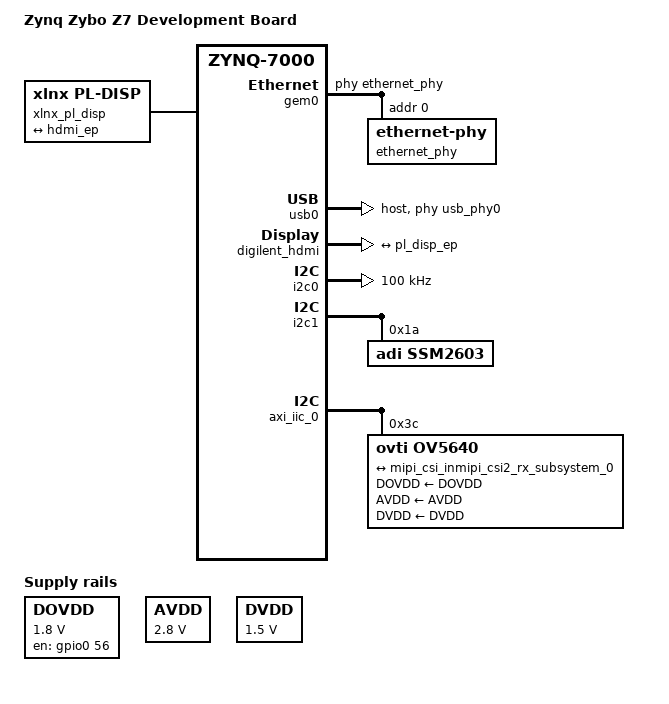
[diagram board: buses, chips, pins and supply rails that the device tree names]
/include/ "system-conf.dtsi"
#include <dt-bindings/gpio/gpio.h>
/* XVIP_VF_YUV_422 from <dt-bindings/media/xilinx-vip.h>; kept numeric so the
 * device-tree recipe does not need the kernel include path */
#define XVIP_VF_YUV_422	0

/ {
	model = "Zynq Zybo Z7 Development Board";
	compatible = "digilent,zynq-zyboz7", "xlnx,zynq-7000";

	usb_phy0: usb_phy@0 {
		compatible = "ulpi-phy";
		#phy-cells = <0>;
		reg = <0xe0002000 0x1000>;
		view-port = <0x0170>;
		drv-vbus;
	};
};

&gem0 {
        phy-handle = <&ethernet_phy>;
        ethernet_phy: ethernet-phy@0 {
                device_type = "ethernet-phy";
                reg = <0>;
                /* dt-bindings/phy/realtek.h */
                /* #define REALTEK_LED_LINK10              BIT(0)
                   #define REALTEK_LED_LINK100             BIT(1)
                   #define REALTEK_LED_LINK1000            BIT(3)
                   #define REALTEK_LED_ACT                 BIT(4)
                   #define REALTEK_LED_DEFAULT             BIT(7)
                */
                /* LED0=10+A, LED1=100+A, LED2=1000+A */
                realtek,leds-config = <0x11 0x12 0x18>;
        };
};

&usb0 {	
	dr_mode = "host";
	usb-phy = <&usb_phy0>;
};

&flash0 {
        /* partitions in system-conf.dtsi use 1 address + 1 size cell */
        #address-cells = <1>;
        #size-cells = <1>;
        compatible = "jedec,spi-nor";
        reg = <0x0>;
        spi-tx-bus-width = <1>;
        spi-rx-bus-width = <4>;
        spi-max-frequency = <100000000>;
};

&amba_pl {
	digilent_hdmi {
		compatible = "digilent,hdmi";

		clocks = <&axi_dynclk_0>;
		clock-names = "clk";

		digilent,edid-i2c = <&i2c0>;
		digilent,fmax = <150000>;

		port@0 {
			hdmi_ep: endpoint {
				remote-endpoint = <&pl_disp_ep>;
			};
		};
	};

	xlnx_pl_disp {
		compatible = "xlnx,pl-disp";

		dmas = <&axi_vdma_1 0>;
		dma-names = "dma0";

		/*
		 * See Documentation/devicetree/bindings/dma/xilinx/xilinx_frmbuf.txt
		 * to find the equivalent DRM fourcc code for the format selected in
		 * the Frame Buffer Reader, then see See include/uapi/drm/drm_fourcc.h
		 * to find the corresponding 4-char string that should be placed here.
		 */
		xlnx,vformat = "XR24";
		xlnx,bridge = <&v_tc_out>;

		port@0 {
			pl_disp_ep: endpoint {
				remote-endpoint = <&hdmi_ep>;
			};
		};
	};
};

&v_tc_out {
	compatible = "xlnx,bridge-v-tc-6.1";
	xlnx,pixels-per-clock = <1>;
};

&axi_dynclk_0 {
	compatible = "dglnt,axi-dynclk";
	#clock-cells = <0>;
};

&v_tc_in {
	compatible = "generic-uio";
};

&axi_vdma_0 {
	compatible = "generic-uio";	
};

&axi_gpio_video {
	compatible = "generic-uio";	
};

&pwm_rgb {
	compatible = "generic-uio";	
};

&amba_pl {
	i2s_clk: i2s_clk {
		#clock-cells = <0>;
		compatible = "fixed-clock";
		clock-frequency = <12000000>;
		clock-output-names = "i2s_clk";
	};

	sound {
		compatible = "simple-audio-card";
		simple-audio-card,name = "Zybo-Z7-Sound-Card";
		simple-audio-card,format = "i2s";
		simple-audio-card,bitclock-master = <&dailink0_master>;
		simple-audio-card,frame-master = <&dailink0_master>;

		simple-audio-card,widgets =
			"Microphone", "Microphone Jack",
			"Headphone", "Headphone Jack",
			"Line", "Line In Jack";

		simple-audio-card,routing =
			"MICIN", "Microphone Jack",
			"Headphone Jack", "LHPOUT",
			"Headphone Jack", "RHPOUT",
			"LLINEIN", "Line In Jack",
			"RLINEIN", "Line In Jack";

		dailink0_master: simple-audio-card,cpu {
			clocks = <&i2s_clk>;
			sound-dai = <&axi_i2s_adi_1>;
		};

		simple-audio-card,codec {
			clocks = <&i2s_clk>;
			sound-dai = <&ssm2603>;
		};
	};
};

&axi_i2s_adi_1 {
	#sound-dai-cells = <0>;
	compatible = "adi,axi-i2s-1.00.a";
	clocks = <&clkc 15>, <&i2s_clk>;
	clock-names = "axi", "ref";
	dmas = <&dmac_s 0 &dmac_s 1>;
	dma-names = "tx", "rx";
};

&i2c0 {
	clock-frequency = <100000>;
	status = "okay";
};

&i2c1 {
	ssm2603: ssm2603@1a{
		#sound-dai-cells = <0>;
		compatible = "adi,ssm2603";
		reg = <0x1a>;
	};
};

&axi_gpio_led {
	compatible = "generic-uio";
};


&axi_gpio_sw_btn {
	compatible = "generic-uio";
};

/ {
	pcam_clk: pcam_clk {
		#clock-cells = <0>;
		compatible = "fixed-clock";
		clock-frequency = <12000000>;
	};

	DOVDD: fixed_regulator_DOVDD@0 {
		compatible = "regulator-fixed";
		regulator-name = "DOVDD_reg";
		regulator-min-microvolt = <1800000>;
		regulator-max-microvolt = <1800000>;
		gpio = <&gpio0 56 GPIO_ACTIVE_HIGH>;
		startup-delay-us = <50000>;
		enable-active-high;
	};

	AVDD: fixed_regulator_AVDD@1 {
		compatible = "regulator-fixed";
		regulator-name = "AVDD_reg";
		regulator-min-microvolt = <2800000>;
		regulator-max-microvolt = <2800000>;

	};

	DVDD: fixed_regulator_DVDD@2 {
		compatible = "regulator-fixed";
		regulator-name = "DVDD_reg";
		regulator-min-microvolt = <1500000>;
		regulator-max-microvolt = <1500000>;
	};
};

&axi_iic_0 {
	ov5640: camera@3c {
		compatible = "ovti,ov5640";
		reg = <0x3c>;
		clocks = <&pcam_clk>;
		clock-names = "xclk";
		DOVDD-supply = <&DOVDD>; /* 1.8v */
		AVDD-supply = <&AVDD>;  /* 2.8v */
		DVDD-supply = <&DVDD>;  /* 1.5v */

		port {
			ov5640_to_mipi_csi2: endpoint {
				remote-endpoint = <&mipi_csi_inmipi_csi2_rx_subsystem_0>;
				clock-lanes = <0>;
				data-lanes = <1 2>;
			};
		};
	};
};

&mipi_csi2_rx_subsystem_0 {
	video-reset-gpios = <&gpio0 57 GPIO_ACTIVE_LOW>;
	/* Generated pl.dtsi says 0x18 (YUV420 8-bit); the IP is YUV422 8-bit (0x1E) */
	xlnx,csi-pxl-format = <0x1e>;
};


&mipi_csi_port0mipi_csi2_rx_subsystem_0 {
	xlnx,video-format = <XVIP_VF_YUV_422>;
};

&mipi_csi_port1mipi_csi2_rx_subsystem_0 {
	xlnx,video-format = <XVIP_VF_YUV_422>;
};

&mipi_csi_inmipi_csi2_rx_subsystem_0 {
	remote-endpoint = <&ov5640_to_mipi_csi2>;
};

&v_frmbuf_wr_0 {
	reset-gpios = <&gpio0 54 GPIO_ACTIVE_LOW>;
};

